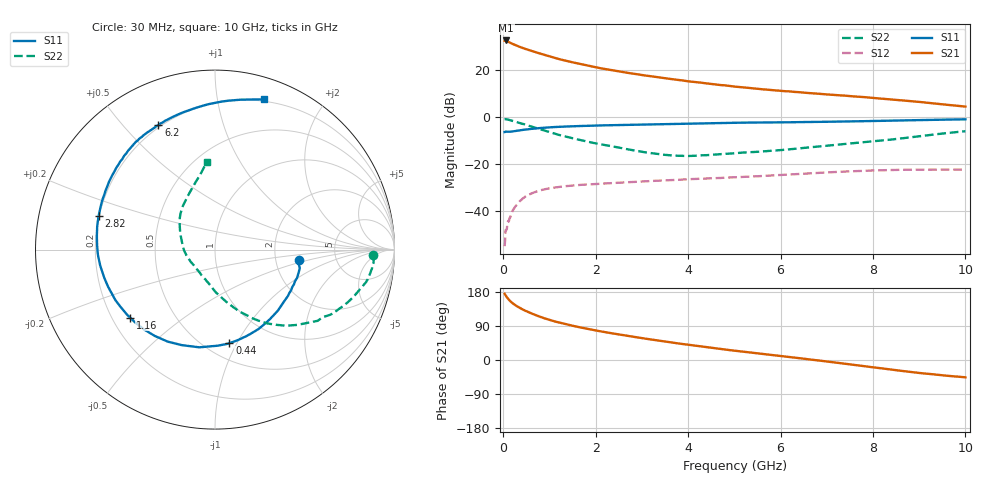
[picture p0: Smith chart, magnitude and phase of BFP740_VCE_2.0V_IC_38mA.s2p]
! Infineon Technologies  Discrete & RF Semiconductors
! BFP740
! VCE =  2.0 V,  IC =  38 mA
! Common Emitter S-Parameters:  Jan 2016
# GHz  S  MA  R  50
!  f  S11  S21  S12  S22
! GHz  MAG  ANG  MAG  ANG  MAG  ANG  MAG  ANG
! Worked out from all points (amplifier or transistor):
!   229 points, 30 MHz to 10 GHz, reference 50 ohm
!   highest |S21| = 32.3 dB at 60 MHz (marker M1)
!   |S21| within 3 dB of that: start of sweep to 397.7 MHz
!   unconditionally stable (mu >= 1): start of sweep to 39.92 MHz; 4.135 GHz to end of sweep
!   at 280 MHz: K = 0.41, MSG = 33.9 dB, |S12| = -37.7 dB
!   at 1.78 GHz: K = 0.63, MSG = 25.3 dB, |S12| = -28.8 dB
!   at 10 GHz: K = 1.05, MAG = 11.9 dB, |S12| = -22.4 dB
!   S11 on the Smith chart (normalised r, x): 30 MHz: 2.71, -0.42; 440 MHz: 0.65, -0.93; 1.16 GHz: 0.27, -0.33; 2.82 GHz: 0.20, +0.14; 6.2 GHz: 0.19, +0.63; 10 GHz: 0.18, +1.36
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0.03  0.4712 -7.3  40.6 174.7  0.0018 84.3  0.8814 -2.0
0.06  0.4834 -14.5  41.3 169.1  0.004 55.1  0.8812 -5.8
0.08  0.4837 -19.0  40.53 165.4  0.0042 79.6  0.8776 -7.9
0.12  0.4811 -28.2  38.37 159.3  0.006 77.8  0.8611 -12.1
0.2  0.4883 -44.3  35.03 150.0  0.01 71.7  0.8157 -18.8
0.3  0.5045 -61.2  31.89 141.6  0.0139 66.1  0.7649 -25.7
0.44  0.5273 -81.2  28.19 132.2  0.019 59.1  0.6986 -34.2
0.6  0.5514 -99.1  25.15 123.4  0.0233 52.4  0.6219 -42.4
0.72  0.5653 -110.8  22.89 117.5  0.026 47.8  0.5717 -47.7
0.9  0.5865 -124.9  20.36 109.7  0.0289 42.3  0.504 -54.7
1.16  0.606 -141.3  17.15 100.4  0.032 36.9  0.4226 -62.6
1.4  0.6221 -153.0  14.92 93.0  0.034 33.6  0.37 -68.7
1.7  0.6359 -164.9  12.84 85.1  0.0361 30.3  0.3143 -75.2
2.2  0.6561 179.2  10.26 73.6  0.0385 26.6  0.2505 -86.0
2.82  0.675 163.7  8.126 61.1  0.0414 24.3  0.1932 -100.0
3.4  0.6933 151.4  6.741 50.5  0.0442 22.0  0.1598 -119.0
4.2  0.7207 137.1  5.337 36.9  0.048 19.5  0.1492 -150.3
5.1  0.7455 125.2  4.266 23.2  0.0524 17.0  0.1705 -177.0
6.2  0.7614 114.5  3.436 7.9  0.0597 13.5  0.2039 159.0
6.8  0.7755 107.9  3.079 -0.9  0.0643 10.0  0.2317 147.7
8.4  0.8253 87.5  2.318 -25.4  0.0742 -2.1  0.3278 118.7
10  0.8799 71.9  1.639 -45.7  0.0758 -12.7  0.4921 95.3
